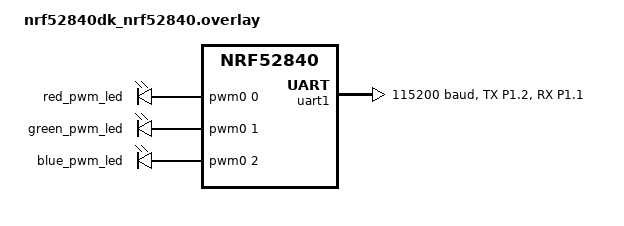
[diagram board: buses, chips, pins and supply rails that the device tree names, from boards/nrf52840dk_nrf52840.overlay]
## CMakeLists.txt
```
# SPDX-License-Identifier: Apache-2.0

cmake_minimum_required(VERSION 3.20.0)

find_package(Zephyr REQUIRED HINTS $ENV{ZEPHYR_BASE})
project(blep1)

SET(CMAKE_C_FLAGS "-O0")
SET(CMAKE_CPP_FLAGS "-O0")
set(CMAKE_BUILD_TYPE Debug)

FILE(GLOB app_sources src/*.c)
FILE(GLOB lib_sources src/lib/*.c)
target_sources(app PRIVATE ${app_sources})
target_sources(app PRIVATE ${lib_sources})
```

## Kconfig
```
mainmenu "OpenP1 application"

config OPENP1_SIM_DATA_ENABLED
  bool "Create some simulated data"
  default y

choice OPENP1_DATA_SOURCE
  bool "Choice of data source"
  default OPENP1_UART_DATA_SOURCE

config OPENP1_UART_DATA_SOURCE
  bool "Read data from UART"
  depends on OPENP1_SERIAL

config OPENP1_SIM_DATA_SOURCE
  bool "Read data directly from simulator"
endchoice

config OPENP1_SERIAL
  bool "Receive data from UART"
  default y

config OPENP1_SIM_UART_OUT
  bool "Send dummy data over tx line"
  default y
  depends on OPENP1_UART_DATA_SOURCE

config OPENP1_IGNORE_UNKNOWN
  bool "Ignore unknown OBIS fields"
  default y

config OPENP1_IGNORE_PARSING_ERRORS
  bool "Ignore fields with parsing errors"
  default y

choice OPENP1_SOCKET_TYPE
  bool "Socket type"
  default OPENP1_UDP

config OPENP1_TCP
  bool "Use TCP socket"
  depends on NET_TCP

config OPENP1_UDP
  bool "Use UDP socket"
  depends on NET_UDP
endchoice

config OPENP1_HOSTNAME
  string "Hostname"
  default "blep-device"

config OPENP1_SRP_INSTANCE_NAME
  string "SRP instance name"
  default "OPENP1 device name"

config OPENP1_LOG_TCP
  bool "Use TCP server for sending logs"
  default y

source "Kconfig.zephyr"
```

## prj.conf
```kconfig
CONFIG_PIPES=y
CONFIG_HW_STACK_PROTECTION=y

CONFIG_OPENP1_TCP=y

# Generic networking options
CONFIG_NETWORKING=y
CONFIG_NET_UDP=y
CONFIG_NET_TCP=y
CONFIG_NET_IPV6=y
CONFIG_NET_IPV4=n
CONFIG_NET_SOCKETS=y
CONFIG_NET_SOCKETS_POSIX_NAMES=y
CONFIG_POSIX_MAX_FDS=6
CONFIG_NET_CONNECTION_MANAGER=y

# Logging
CONFIG_LOG_MODE_DEFERRED=y
CONFIG_LOG_BUFFER_SIZE=8192
CONFIG_LOG_RUNTIME_FILTERING=y
CONFIG_LOG_FUNC_NAME_PREFIX_WRN=n
CONFIG_LOG_FUNC_NAME_PREFIX_INF=n
CONFIG_LOG_FUNC_NAME_PREFIX_ERR=n
CONFIG_LOG_FUNC_NAME_PREFIX_DBG=n

#CONFIG_FPU_SHARING=y

#CONFIG_BT_DEBUG_HCI_CORE=y

CONFIG_MODBUS=y
CONFIG_MODBUS_ROLE_SERVER=y
CONFIG_MODBUS_RAW_ADU=y
CONFIG_MODBUS_NUMOF_RAW_ADU=1
```

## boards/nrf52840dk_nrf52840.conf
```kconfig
CONFIG_SERIAL=y
CONFIG_UART_INTERRUPT_DRIVEN=y
CONFIG_OPENP1_SIM_DATA_ENABLED=y
CONFIG_OPENP1_UART_DATA_SOURCE=y
CONFIG_OPENP1_SERIAL=y
CONFIG_OPENP1_SIM_UART_OUT=y

CONFIG_NRFX_UARTE1=y
CONFIG_NFCT_PINS_AS_GPIOS=y
CONFIG_GPIO=y
CONFIG_PWM=y

CONFIG_FPU=y

CONFIG_OPENP1_HOSTNAME="openp1-dk"

CONFIG_WATCHDOG=y

# Kernel options
CONFIG_ENTROPY_GENERATOR=y
CONFIG_TEST_RANDOM_GENERATOR=y
CONFIG_INIT_STACKS=y

# Logging
CONFIG_NET_LOG=y
CONFIG_LOG=y
CONFIG_NET_STATISTICS=y
CONFIG_PRINTK=y

# Network buffers
CONFIG_NET_PKT_RX_COUNT=16
CONFIG_NET_PKT_TX_COUNT=16
CONFIG_NET_BUF_RX_COUNT=64
CONFIG_NET_BUF_TX_COUNT=64
CONFIG_NET_CONTEXT_NET_PKT_POOL=y

# IP address options
CONFIG_NET_IF_UNICAST_IPV6_ADDR_COUNT=6
CONFIG_NET_IF_MCAST_IPV6_ADDR_COUNT=4
CONFIG_NET_MAX_CONTEXTS=10

# Network shell
CONFIG_NET_SHELL=y
CONFIG_SHELL=y

# Network application options and configuration
#CONFIG_NET_CONFIG_SETTINGS=y
CONFIG_NET_CONFIG_NEED_IPV6=n
#CONFIG_NET_CONFIG_MY_IPV6_ADDR="2001:db8::1"
#CONFIG_NET_CONFIG_PEER_IPV6_ADDR="2001:db8::2"

# These will break openthread! https://github.com/zephyrproject-rtos/zephyr/issues/34597
CONFIG_NET_IPV6_NBR_CACHE=n
CONFIG_NET_IPV6_MLD=n


CONFIG_SYSTEM_WORKQUEUE_STACK_SIZE=4096

# Enable OpenThread shell
CONFIG_OPENTHREAD_SHELL=y
CONFIG_SHELL_STACK_SIZE=3072

CONFIG_NET_L2_OPENTHREAD=y
#CONFIG_NET_IPV6_LOG_LEVEL_DBG=y

#CONFIG_OPENTHREAD_DEBUG=y
#CONFIG_OPENTHREAD_L2_LOG_LEVEL_INF=y
#CONFIG_OPENTHREAD_L2_DEBUG=y
#CONFIG_OPENTHREAD_LOG_LEVEL_INFO=y
#CONFIG_OPENTHREAD_FULL_LOGS=y

CONFIG_OPENTHREAD_SLAAC=y
CONFIG_OPENTHREAD_JOINER=y
CONFIG_OPENTHREAD_JOINER_AUTOSTART=n
CONFIG_OPENTHREAD_MANUAL_START=y
CONFIG_OPENTHREAD_PING_SENDER=y
CONFIG_OPENTHREAD_SRP_CLIENT=y
CONFIG_OPENTHREAD_DIAG=y
CONFIG_OPENTHREAD_RADIO_WORKQUEUE_STACK_SIZE=1024

CONFIG_SETTINGS_SHELL=y

# mbedTLS tweaks
CONFIG_MBEDTLS_SSL_MAX_CONTENT_LEN=768
CONFIG_MBEDTLS_HEAP_SIZE=16384

CONFIG_MAIN_STACK_SIZE=8192
CONFIG_PICOLIBC=y
```

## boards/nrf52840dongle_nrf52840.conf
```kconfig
CONFIG_SERIAL=y
CONFIG_UART_INTERRUPT_DRIVEN=y

CONFIG_OPENP1_SIM_DATA_ENABLED=n
CONFIG_OPENP1_UART_DATA_SOURCE=y
CONFIG_OPENP1_SIM_UART_OUT=n

CONFIG_NRFX_UARTE1=y
CONFIG_NFCT_PINS_AS_GPIOS=y
CONFIG_GPIO=y
CONFIG_PWM=y

CONFIG_WATCHDOG=y

#CONFIG_POSIX_API=y
CONFIG_PICOLIBC=y
CONFIG_FPU=y

CONFIG_CONSOLE=y
CONFIG_UART_CONSOLE=y

# Kernel options
CONFIG_ENTROPY_GENERATOR=y
CONFIG_TEST_RANDOM_GENERATOR=y
CONFIG_INIT_STACKS=y

# Logging
CONFIG_NET_LOG=y
CONFIG_LOG=y
CONFIG_NET_STATISTICS=y
CONFIG_PRINTK=y

# Network buffers
CONFIG_NET_PKT_RX_COUNT=16
CONFIG_NET_PKT_TX_COUNT=16
CONFIG_NET_BUF_RX_COUNT=64
CONFIG_NET_BUF_TX_COUNT=64
CONFIG_NET_CONTEXT_NET_PKT_POOL=y

# IP address options
CONFIG_NET_IF_UNICAST_IPV6_ADDR_COUNT=6
CONFIG_NET_IF_MCAST_IPV6_ADDR_COUNT=4
CONFIG_NET_MAX_CONTEXTS=10

# Network shell
CONFIG_NET_SHELL=y
CONFIG_SHELL=y

# Network application options and configuration
CONFIG_NET_CONFIG_SETTINGS=n
CONFIG_NET_CONFIG_NEED_IPV6=n
CONFIG_NET_CONFIG_NEED_IPV4=n
CONFIG_NET_CONFIG_NEED_IPV6_ROUTER=n
#CONFIG_NET_CONFIG_MY_IPV6_ADDR="2001:db8::1"
#CONFIG_NET_CONFIG_PEER_IPV6_ADDR="2001:db8::2"

# How many client can connect to echo-server simultaneously

# These will break openthread! https://github.com/zephyrproject-rtos/zephyr/issues/34597
CONFIG_NET_IPV6_NBR_CACHE=n
CONFIG_NET_IPV6_MLD=n


CONFIG_SYSTEM_WORKQUEUE_STACK_SIZE=4096

# Enable OpenThread shell
CONFIG_OPENTHREAD_SHELL=y
CONFIG_SHELL_STACK_SIZE=3072

CONFIG_NET_L2_OPENTHREAD=y
#CONFIG_NET_IPV6_LOG_LEVEL_DBG=y

#CONFIG_OPENTHREAD_DEBUG=y
#CONFIG_OPENTHREAD_L2_DEBUG=y
#CONFIG_OPENTHREAD_L2_LOG_LEVEL_INF=y
#CONFIG_OPENTHREAD_LOG_LEVEL_INFO=y

CONFIG_OPENTHREAD=y
CONFIG_OPENTHREAD_SLAAC=y
CONFIG_OPENTHREAD_JOINER=y
CONFIG_OPENTHREAD_JOINER_AUTOSTART=n
CONFIG_OPENTHREAD_MANUAL_START=y
CONFIG_OPENTHREAD_PING_SENDER=y
CONFIG_OPENTHREAD_SRP_CLIENT=y
CONFIG_OPENTHREAD_DIAG=y
CONFIG_OPENTHREAD_RADIO_WORKQUEUE_STACK_SIZE=1024

# mbedTLS tweaks
CONFIG_MBEDTLS_SSL_MAX_CONTENT_LEN=768
CONFIG_MBEDTLS_HEAP_SIZE=16384

CONFIG_MAIN_STACK_SIZE=8192
CONFIG_PICOLIBC=y


# Which is used, if any?
CONFIG_OPENTHREAD_DEFAULT_TX_POWER=8
CONFIG_NET_CONFIG_IEEE802154_RADIO_TX_POWER=8
```

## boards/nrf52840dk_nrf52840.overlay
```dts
/ {
	chosen {
		p1 = &uart1;

	};
	pwmleds {
		compatible = "pwm-leds";
		red_pwm_led: pwm_led_0 {
			pwms = <&pwm0 0 PWM_USEC(255) PWM_POLARITY_INVERTED>;
		};
		green_pwm_led: pwm_led_1 {
			pwms = <&pwm0 1 PWM_USEC(255) PWM_POLARITY_INVERTED>;
		};
		blue_pwm_led: pwm_led_2 {
			pwms = <&pwm0 2 PWM_USEC(255) PWM_POLARITY_INVERTED>;
		};
	};
	aliases {
		red-pwm-led = &red_pwm_led;
		green-pwm-led = &green_pwm_led;
		blue-pwm-led = &blue_pwm_led;
	};
};

&uart1 {
	status = "okay";
	current-speed = <115200>;
	pinctrl-0 = <&uart1_default>;
	pinctrl-1 = <&uart1_sleep>;
	pinctrl-names = "default", "sleep";
};

&pinctrl {
	uart1_default: uart1_default {
		group1 {
			psels = <NRF_PSEL(UART_TX, 1, 2)>;
		};
		group2 {
			psels =	<NRF_PSEL(UART_RX, 1, 1)>;
			bias-pull-down;
		};
	};

	uart1_sleep: uart1_sleep {
		group1 {
			psels = <NRF_PSEL(UART_TX, 1, 2)>,
			      	<NRF_PSEL(UART_RX, 1, 1)>;
			low-power-enable;
		};
	};
	pwm0_default: pwm0_default {
		group1 {
			psels = <NRF_PSEL(PWM_OUT0, 0, 14)>,
					<NRF_PSEL(PWM_OUT1, 0, 15)>,
					<NRF_PSEL(PWM_OUT2, 0, 16)>;
			nordic,invert;
		};
	};

	pwm0_sleep: pwm0_sleep {
		group1 {
			psels = <NRF_PSEL(PWM_OUT0, 0, 14)>,
					<NRF_PSEL(PWM_OUT1, 0, 15)>,
					<NRF_PSEL(PWM_OUT2, 0, 16)>;
			low-power-enable;
		};
	};
};
```

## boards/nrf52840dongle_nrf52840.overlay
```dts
/ {
	chosen {
		p1 = &uart1;
	};
	pwmleds {
		compatible = "pwm-leds";
		red_pwm_led: pwm_led_0 {
			pwms = <&pwm0 0 PWM_USEC(255) PWM_POLARITY_INVERTED>;
		};
		green_pwm_led: pwm_led_1 {
			pwms = <&pwm0 1 PWM_USEC(255) PWM_POLARITY_INVERTED>;
		};
		blue_pwm_led: pwm_led_2 {
			pwms = <&pwm0 2 PWM_USEC(255) PWM_POLARITY_INVERTED>;
		};
	};
};

&uart1 {
	status = "okay";
	current-speed = <115200>;
	pinctrl-0 = <&uart1_default>;
	pinctrl-1 = <&uart1_sleep>;
	pinctrl-names = "default", "sleep";
};

&pinctrl {
	uart1_default: uart1_default {
		group1 {
			psels = <NRF_PSEL(UART_TX, 0, 17)>;
		};
		group2 {
			psels =	<NRF_PSEL(UART_RX, 0, 29)>;
			bias-pull-down;
		};
	};

	uart1_sleep: uart1_sleep {
		group1 {
			psels = <NRF_PSEL(UART_TX, 0, 17)>,
			      	<NRF_PSEL(UART_RX, 0, 29)>;
			low-power-enable;
		};
	};
};
```

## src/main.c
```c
#include "lib/openp1.h"
#include "lib/parser.h"
#include "lib/telegram.h"
#include "lib/value_store.h"

#include "state_indicator.h"
#include "thread_mgmt.h"
#include "uart_p1.h"
#include "framer_task.h"
#include "parser_task.h"
#include "handler_task.h"
#include "modbus.h"
#include "tcp_log.h"
#include "input.h"
#include "watchdog.h"

#include <zephyr/kernel.h>
#include <zephyr/logging/log.h>

#if CONFIG_OPENTHREAD
#include <zephyr/net/openthread.h>
#include <openthread/srp_client.h>
#include <openthread/instance.h>
#endif

K_PIPE_DEFINE(rx_pipe, 4096, 4);
K_PIPE_DEFINE(tx_pipe, 4096, 4);
K_FIFO_DEFINE(telegram_frame_fifo);
K_MSGQ_DEFINE(telegram_queue, sizeof(telegram_message), 1, 4); 

LOG_MODULE_REGISTER(main, LOG_LEVEL_DBG);

const char HOSTNAME[] = CONFIG_OPENP1_HOSTNAME; 

struct value_store value_store;

void update_data_store(struct data_item *data_item) {
	value_store_update(&value_store, data_item);
}

#if CONFIG_OPENTHREAD
//typedef void (*otSrpClientAutoStartCallback)(const otSockAddr *aServerSockAddr, void *aContext);
void on_ot_srp_client_autostart_cb(const otSockAddr *aServerSockAddr, void *aContext) {
	uint8_t buf[INET6_ADDRSTRLEN];
	otIp6AddressToString(&aServerSockAddr->mAddress, buf, INET6_ADDRSTRLEN);
	LOG_INF("SRP autostart callback. Server: %s", buf);
}

const char INSTANCE_NAME[] = CONFIG_OPENP1_SRP_INSTANCE_NAME;
#if CONFIG_OPENP1_UDP
const char SERVICE_LABEL[] = "_blep1-modbus._udp";
#elif CONFIG_OPENP1_TCP
const char SERVICE_LABEL[] = "_blep1-modbus._tcp";
#else
const char SERVICE_LABEL[] = "_blep1-unknown._unknown";
#endif
struct otSrpClientService srp_client_service = {0};

static int service_registration() {
	struct otInstance *otInstance = openthread_get_default_instance();
	if (otInstance == NULL) {
		LOG_ERR("Openthread instance not available");
		return -1;
	}
	int ret = otSrpClientEnableAutoHostAddress(otInstance);
	if (ret != OT_ERROR_NONE) {
		LOG_ERR("Could not set auto host name address, error: %d", ret);
		return -1;
	}
	ret = otSrpClientSetHostName(otInstance, HOSTNAME);
	if (ret != OT_ERROR_NONE) {
		LOG_ERR("Could not set host name address, error: %d", ret);
		return -1;
	}
	srp_client_service.mInstanceName = INSTANCE_NAME;
	srp_client_service.mName = SERVICE_LABEL;
	srp_client_service.mPort = 502;

	ret = otSrpClientAddService(otInstance, &srp_client_service);
	if (ret != OT_ERROR_NONE) {
		LOG_ERR("Could not set service, error: %d", ret);
		return -1;
	}
	otSrpClientEnableAutoStartMode(otInstance, &on_ot_srp_client_autostart_cb, NULL);
	LOG_INF("Service discovery setup done");

	return 0;
}
#else
static int service_registration() { 
	LOG_INF("No service registration configured");
	return 0;
}

#endif

struct button_cb button_callbacks = {
	.on_button_short_press_released = thread_join_attempt,
	.on_button_long_press_detected = thread_factory_reset,
};


void main(void) {
	int err;
	LOG_INF("Starting..");

#if CONFIG_WATCHDOG
	err = watchdog_init();
	if (err < 0) {
		LOG_ERR("Could not init watchdog (err %d)", err);
		goto fail;
	}
#endif


#if CONFIG_OPENP1_SERIAL
	err = uart_p1_init(&rx_pipe, &tx_pipe);
	if (err < 0) {
		LOG_ERR("Could not init uart (err %d)", err);
		goto fail;
	}
#endif

	err = framer_task_init(&rx_pipe, &telegram_frame_fifo);
	if (err < 0) {
		LOG_ERR("Could not init parser task (err %d)", err);
		goto fail;
	}

	err = parser_task_init(&telegram_frame_fifo, &telegram_queue);
	if (err < 0) {
		LOG_ERR("Could not init parser task (err %d)", err);
		goto fail;
	}

	err = handler_task_init(&telegram_queue, &update_data_store);
	if (err < 0) {
		LOG_ERR("Could not init handler task (err %d)", err);
		goto fail;
	}

	err = modbus_init(&value_store);
	if (err < 0) {
		LOG_ERR("Could not initalize Modbus server");
		goto fail;
	}

#if CONFIG_OPENP1_LOG_TCP
	err = tcp_log_server_start();
	if (err < 0) {
		LOG_ERR("Could not initalize tcp log server");
		goto fail;
	}
#endif

#if CONFIG_GPIO
	err = input_init(&button_callbacks);
	if (err < 0) {
		LOG_ERR("Could not initialize input");
		goto fail;
	}
#endif

	err = service_registration();
	if (err < 0) {
		LOG_ERR("Could not start service registration");
		goto fail;
	}

	state_indicator_set_state(STARTED);

#if CONFIG_OPENTHREAD
	thread_up();
#endif

	LOG_INF("Up and running..");

	while (true) {
		k_sleep(K_SECONDS(1));
	}

	fail:
	LOG_ERR("Error");
	state_indicator_set_state(ERROR);
	k_sleep(K_MSEC(5000));

}
```

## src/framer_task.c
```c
#include <zephyr/logging/log.h>
#include <zephyr/net/buf.h>
#include <zephyr/kernel.h>
#include <sys/types.h>

#include "framer_task.h"
#include "lib/openp1.h"
#include "line_log.h"
#include "lib/telegram_framer.h"

#define READ_TIMEOUT_MS 200
#define MAX_TELEGRAM_SIZE 8192
#define TELEGRAM_BUF_POOL_SIZE 4

LOG_MODULE_REGISTER(framer_task, LOG_LEVEL_DBG);

K_SEM_DEFINE(start, 0, 1);

struct k_fifo *framed_telegram_queue;
struct k_pipe *input_pipe;

static struct telegram_framer *telegram_framer;

static struct line_log *line_log;

int framer_task_init(struct k_pipe *input, struct k_fifo *output) {
    input_pipe = input;
    framed_telegram_queue = output;

    line_log = line_log_init();
    if (line_log == NULL) {
        LOG_ERR("Failed to initialize line log");
        return -1;
    }
    telegram_framer = telegram_framer_init();
    if (telegram_framer == NULL) {
        LOG_ERR("Failed to initialize telegram framer");
        return -1;
    }
    k_sem_give(&start);
    return 0;
}

void framer_task(void *user_data) {
	uint8_t c;
    size_t bytes_read;
    k_sem_take(&start, K_FOREVER);
    LOG_INF("Telegram framer task started");
    while(true) {
        k_timeout_t timeout = telegram_framer_is_empty(telegram_framer) ? K_FOREVER : K_MSEC(READ_TIMEOUT_MS);
        int ret = k_pipe_get(input_pipe, &c, 1, &bytes_read, 1, timeout);
        if (ret < 0) {
            if (ret == -EINVAL) {
                LOG_ERR("Invalid argument, should not happen");
                return;
            }
            LOG_DBG("Discarding frame due to timeout");
            telegram_framer_reset(telegram_framer);
            line_log_reset(line_log);
        } else {
            line_log_push(line_log, c);
            struct net_buf *frame = telegram_framer_push(telegram_framer, c);
            if (frame != NULL) {
                net_buf_put(framed_telegram_queue, frame);
            }
	    }
    }
}

#define STACKSIZE 1024
#define PRIORITY 7

K_THREAD_DEFINE(framer_task_thread, STACKSIZE,
                framer_task, NULL, NULL, NULL,
                PRIORITY, K_ESSENTIAL, 0);
```

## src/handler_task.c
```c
#include <zephyr/kernel.h>

#include <zephyr/logging/log.h>
#include <sys/types.h>

#include "handler_task.h"

#include "lib/telegram.h"
#include "lib/openp1.h"
#include "state_indicator.h"
#include "watchdog.h"


LOG_MODULE_REGISTER(handler_task, LOG_LEVEL_DBG);

#define STACKSIZE 1024
#define PRIORITY 7

K_SEM_DEFINE(handler_task_start, 0, 1);

static struct k_msgq *telegram_queue = NULL;
static update_value_store_fun update_value_store;

int handler_task_init(struct k_msgq *input, update_value_store_fun update_fun) {
    telegram_queue = input;
    update_value_store = update_fun;
    k_sem_give(&handler_task_start);
    return 0;
}

void handle_telegram(struct telegram *telegram) {
    int count = 0;
    struct data_item *data_item;
    struct telegram_data_iterator iter;
    telegram_item_iterator_init(telegram, &iter);
    while (NULL != (data_item = telegram_item_iterator_next(&iter))) {
        update_value_store(data_item);
        count++;
    }
    LOG_DBG("Value store updated with %d values.", count);
}

void handler_task(void *, void *, void *) {
    k_sem_take(&handler_task_start, K_FOREVER);
    LOG_INF("Telegram handler started");
    while (true) {
        telegram_message telegram_message;
        int ret = k_msgq_get(telegram_queue, &telegram_message, K_FOREVER);
        if (ret < 0) {
            LOG_ERR("Failed to receive message for some reason: %d", ret);
        } else {
            struct telegram *telegram = telegram_message.telegram;
            LOG_INF("Handler task received telegram");
            state_indicator_notify_telegram();
            handle_telegram(telegram);
            watchdog_feed(TELEGRAM_RECEIVED);
            telegram_free(telegram);
        }
    }
}

K_THREAD_DEFINE(handler_task_thread, STACKSIZE,
                handler_task, NULL, NULL, NULL,
                PRIORITY, K_ESSENTIAL, 0);
```

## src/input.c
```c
#include "input.h"

#include <zephyr/kernel.h>
#include <zephyr/logging/log.h>
#include <zephyr/drivers/gpio.h>
#include <zephyr/device.h>
#include <zephyr/sys/time_units.h>

#if CONFIG_GPIO

LOG_MODULE_REGISTER(input, LOG_LEVEL_DBG);

//static const struct device *const button = DEVICE_DT_GET(DT_NODELABEL(button0));
static const struct gpio_dt_spec button = GPIO_DT_SPEC_GET(DT_ALIAS(sw0), gpios);

/* For zephyr 3.4.0, with input system
static void test_cb(struct input_event *evt) {
    LOG_INF("Button press, type: %d, code: %d, value: %d", evt->type, evt->code, evt->value);
}
//INPUT_LISTENER_CB_DEFINE(button, test_cb);
*/

static struct button_cb *button_callbacks;

static void call_if_set(button_event_cb cb) {
    if (cb != NULL) {
        cb();
    }
}

static void on_button_pressed(struct k_work *work) {
    LOG_DBG("Button pressed");
	call_if_set(button_callbacks->on_button_pressed);
}

static void on_button_released(struct k_work *work) {
    LOG_DBG("Button released");
	call_if_set(button_callbacks->on_button_released);
}

static void on_button_short_press_released(struct k_work *work) {
    LOG_DBG("Button short press released");
	call_if_set(button_callbacks->on_button_short_press_released);
}

static void on_button_long_press_released(struct k_work *work) {
    LOG_DBG("Button long press released");
	call_if_set(button_callbacks->on_button_long_press_released);
}

static void on_button_long_press_detected(struct k_work *work) {
    LOG_DBG("Button long press detected");
	call_if_set(button_callbacks->on_button_long_press_detected);
}

K_WORK_DEFINE(button_pressed_work, on_button_pressed);
K_WORK_DEFINE(button_released_work, on_button_released);
K_WORK_DEFINE(button_short_press_released_work, on_button_short_press_released);
K_WORK_DEFINE(button_long_press_released_work, on_button_long_press_released);
K_WORK_DEFINE(button_long_press_detected_work, on_button_long_press_detected);


#define LONG_PRESS_TIME_MS 3000
#define SHORT_PRESS_TIME_MS 50

void press_timer_handler(struct k_timer *ignored) {
    k_work_submit(&button_long_press_detected_work);
}

K_TIMER_DEFINE(press_timer, press_timer_handler, NULL);

static void button_cb(const struct device *dev, struct gpio_callback *cb, uint32_t pins) {
    int level = gpio_pin_get_dt(&button);
    if (level != 0 ) {
        // Button pressed
        k_timer_start(&press_timer, K_MSEC(LONG_PRESS_TIME_MS), K_NO_WAIT);
        k_work_submit(&button_pressed_work);
    } else {
        // Button released
        k_ticks_t remaining_ticks = k_timer_remaining_ticks(&press_timer);
        k_timer_stop(&press_timer);
        uint32_t elapsed_time_ms = LONG_PRESS_TIME_MS - k_ticks_to_ms_floor32 (remaining_ticks);
        if (k_timer_status_get(&press_timer) > 0) {
            // Timer expired -> long press
            k_work_submit(&button_long_press_released_work);
        } else if (elapsed_time_ms > SHORT_PRESS_TIME_MS) {
            k_work_submit(&button_short_press_released_work);
        }
        // In any case, signal button relased
        k_work_submit(&button_released_work);
    }
}

static struct gpio_callback button_cb_data;

int input_init(struct button_cb *callbacks) {
    int ret;
    LOG_INF("Initializing input");
    if (!device_is_ready(button.port)) {
		LOG_ERR("%s: device not ready.\n", button.port->name);
		return -1;
	}
    ret = gpio_pin_configure_dt(&button, GPIO_INPUT);
	if (ret != 0) {
		LOG_ERR("Error %d: failed to configure gpio on %s pin %d\n",
			ret, button.port->name, button.pin);
		return -1;
	}

	ret = gpio_pin_interrupt_configure_dt(&button, GPIO_INT_TRIG_BOTH);
	if (ret != 0) {
		LOG_ERR("Error %d: failed to configure interrupt on %s pin %d\n",
			ret, button.port->name, button.pin);
		return -1;
	}
	gpio_init_callback(&button_cb_data, button_cb, BIT(button.pin));
    ret = gpio_add_callback(button.port, &button_cb_data);
    if (ret != 0) {
		LOG_ERR("Failed to add callback");
		return -1;
    }

    if (callbacks == NULL) {
		LOG_ERR("No callbacks provided");
        return -1;
    }
    button_callbacks = callbacks;
    LOG_INF("Initialized input");

    return 0;
}

#endif
```

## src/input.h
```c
#ifndef INPUT_HEADER_H
#define INPUT_HEADER_H


typedef void (*button_event_cb)();

struct button_cb {
    button_event_cb on_button_pressed;
    button_event_cb on_button_released;
    button_event_cb on_button_short_press_released;
    button_event_cb on_button_long_press_released;
    button_event_cb on_button_long_press_detected;
};

int input_init(struct button_cb *callbacks);


#endif /* INPUT_HEADER_H */
```

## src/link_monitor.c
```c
#include <zephyr/kernel.h>
#include <zephyr/logging/log.h>
#include <zephyr/net/openthread.h>

#include <openthread/dataset.h>
#include <openthread/instance.h>
#include <openthread/netdata.h>

#include "state_indicator.h"

#if CONFIG_OPENTHREAD

LOG_MODULE_REGISTER(link_monitor, LOG_LEVEL_INF);

#define STACKSIZE 512
#define PRIORITY 7

K_SEM_DEFINE(link_monitor_check, 0, 1);

void link_monitor_event(struct k_timer *timer) {
    k_sem_give(&link_monitor_check);
}

K_TIMER_DEFINE(link_monitor_timer, link_monitor_event, NULL);

static uint8_t prefix_buf[64];

static int is_up() {
    // Consider up if we have any external routes
	struct openthread_context *context = openthread_get_default_context();
    if (context == NULL) {
        return -1;
    }

    openthread_api_mutex_lock(context);
    struct otInstance *instance = context->instance;
  
    otNetworkDataIterator it = OT_NETWORK_DATA_ITERATOR_INIT;
    struct otExternalRouteConfig route_config;
    int route_count = 0;

    while (OT_ERROR_NONE == otNetDataGetNextRoute(instance, &it, &route_config)) {
        route_count++;
        otIp6PrefixToString(&route_config.mPrefix, prefix_buf, sizeof(prefix_buf));
        LOG_DBG("Found external route RLOC16: %d Prefix: %s", route_config.mRloc16, prefix_buf);
    }

    openthread_api_mutex_unlock(context);

    return route_count;
}

void link_monitor_task(void *, void *, void *) {
    k_timer_start(&link_monitor_timer, K_MSEC(1000), K_MSEC(1000));
    while (true) {
        k_sem_take(&link_monitor_check, K_FOREVER);
        enum indicator_state current_state = state_indicator_get_state();
        if (current_state == CONNECTED || current_state == AWAITING_ROUTES) {
            int ret = is_up();
            if (ret > 0 ) {
                state_indicator_set_state(CONNECTED);
            } else if (ret == 0) {
                state_indicator_set_state(AWAITING_ROUTES);
            } else {
                state_indicator_set_state(ERROR);
            } 
        }
    }
}

K_THREAD_DEFINE(link_monitor_thread, STACKSIZE,
                link_monitor_task, NULL, NULL, NULL,
                PRIORITY, K_ESSENTIAL, 0);


#endif
```

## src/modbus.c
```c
#include "modbus.h"
#include "lib/value_store.h"
#include "lib/openp1.h"
#include "udp.h"
#include "tcp.h"
#include "watchdog.h"
#include "state_indicator.h"

#include <stdint.h>
#include <zephyr/modbus/modbus.h>
#include <sys/types.h>

LOG_MODULE_REGISTER(modbus_server, LOG_LEVEL_DBG);

K_SEM_DEFINE(response_ready, 0, 1);

static void modbus_activity_timer_expiry(struct k_timer *timer) {
	state_indicator_set_state(CONNECTED); // Not necessarily true, but link monitor will watch further
}

K_TIMER_DEFINE(modbus_activity_timer, modbus_activity_timer_expiry, NULL);

static void modbus_activity_notify() {
	k_timer_start(&modbus_activity_timer, K_SECONDS(120), K_NO_WAIT);
	state_indicator_set_state(ACTIVE);
	watchdog_feed(MODBUS_READ);
}
 
static int server_iface = -1;
static struct value_store *value_store;
static struct value_store value_store_snapshot;

static uint16_t read_word(struct data_item *data_item, uint16_t offset) {
	uint8_t buf[14]; // TODO max length should be defined somewhere.
    union data_value *value = &data_item->value;
	switch(data_definition_table[data_item->item].format) {
        case DATE_TIME_STRING:
			memcpy(buf, value->date_time, sizeof(value->date_time));
			break;
        case DOUBLE_LONG_UNSIGNED_8_3:
        case DOUBLE_LONG_UNSIGNED_4_3:
			sys_put_be32(value->double_long_unsigned, buf);
			break;
        case LONG_SIGNED_3_1:
        case LONG_UNSIGNED_3_1:
			// Shouldn't be needed, but let's keep it for consistency and to avoid any byte ordering bugs..
			sys_put_be16(value->long_unsigned, buf);
			break;
		default:
			LOG_ERR("BUG: Unhandled item");
			return 0;
	}
	return sys_get_be16(&buf[offset * 2]);
}

static int input_reg_rd(uint16_t addr, uint16_t *reg) {

	if (addr < 0x0800) {
		LOG_WRN("Trying to read non-implemented system registers");
		return -1;
	} 

	uint16_t value_addr = addr - DATA_BASE_ADDRESS;
	uint16_t item = value_addr / 32;
	uint16_t item_offset = value_addr % 32;

	struct value_store_read_result read_result = value_store_read(&value_store_snapshot, item);

	switch (read_result.status) {
		case INVALID:
			LOG_WRN("Read failure; invalid value");
			return -1; 
		case STALE:
			LOG_INF("Read failure; stale value");
			return -1;
		case OK:
			break;
		default:
			LOG_ERR("Read failure: unknown status");
			return -1;
	}

	struct data_item *data_item = &read_result.data.data;
	uint16_t size = data_item_size(data_item);

	if (item_offset > (size-1) /2 ) {
		LOG_ERR("Read failure: invalid offset");
		return -1;
	}

	uint16_t value = read_word(data_item, item_offset);
	LOG_INF("Modbus read input register, 0x%x = %d", addr, value);
	*reg = value;
	return 0;
}

static struct modbus_adu rx_adu;
static struct modbus_adu tx_adu;

static int respond(const int iface, const struct modbus_adu *adu, void *user_data) {
	LOG_INF("Server raw callback from interface %d", iface);
	if (SEND_BUFFER_SIZE < adu->length + MODBUS_MBAP_AND_FC_LENGTH) {
		// TODO set better exception type
		LOG_WRN("Response too large");
		modbus_raw_set_server_failure(&tx_adu);
		k_sem_give(&response_ready);
		return 0;
	}

	tx_adu.trans_id = adu->trans_id;
	tx_adu.proto_id = adu->proto_id;
	tx_adu.length = adu->length;
	tx_adu.unit_id = adu->unit_id;
	tx_adu.fc = adu->fc;
	memcpy(tx_adu.data, adu->data, adu->length);
	LOG_HEXDUMP_INF(tx_adu.data, tx_adu.length, "resp");
	k_sem_give(&response_ready);

	return 0;
}

static struct modbus_user_callbacks muc = {
    .input_reg_rd = input_reg_rd,
};

const static struct modbus_iface_param server_param = {
	.mode = MODBUS_MODE_RAW,
	.server = {
		.user_cb = &muc,
		.unit_id = 1,
	},
	.rawcb.raw_tx_cb = respond,
	.rawcb.user_data = NULL
};

static int send_reply(int socket) {
	int ret;
	uint8_t tx_buf[SEND_BUFFER_SIZE];
	modbus_raw_put_header(&tx_adu, tx_buf);
	// Size is checked earlier
	memcpy(&tx_buf[MODBUS_MBAP_AND_FC_LENGTH], tx_adu.data, tx_adu.length);

	#if CONFIG_OPENP1_UDP
	ret = udp_server_send(tx_buf, MODBUS_MBAP_AND_FC_LENGTH + tx_adu.length);
	#elif CONFIG_OPENP1_TCP
	ret = tcp_server_send(socket, tx_buf, MODBUS_MBAP_AND_FC_LENGTH + tx_adu.length);
	#else
	LOG_ERR("Unknown transport");
	ret = -1;
	#endif

	if (ret == 0) {
		modbus_activity_notify();
	}

	return ret;

}

#if CONFIG_OPENP1_UDP
static int on_message_received(struct request *request) {
#else
static int on_message_received(struct tcp_request *request) {
#endif
	// Read header
	if (request->len < MODBUS_MBAP_AND_FC_LENGTH) {
		LOG_WRN("Received incomplete header");
		return -1;
	}

	modbus_raw_get_header(&rx_adu, request->recv_buffer);
	LOG_HEXDUMP_DBG(request->recv_buffer, sizeof(MODBUS_MBAP_AND_FC_LENGTH), "h:>");

	if (request->len < MODBUS_MBAP_AND_FC_LENGTH + rx_adu.length) {
		LOG_WRN("Received incomplete ADU");
		return -1;
	}

	memcpy(rx_adu.data, &request->recv_buffer[MODBUS_MBAP_AND_FC_LENGTH], rx_adu.length);

	// Take a snapshot of the value_store
	value_store_copy(value_store, &value_store_snapshot);

	if (modbus_raw_submit_rx(server_iface, &rx_adu)) {
		LOG_ERR("Failed to submit raw ADU");
		return -EIO;
	}

    // We trust our network to not DOS us with garbage
    // TODO: file a request for a dropped message callback
	if (k_sem_take(&response_ready, K_MSEC(500)) != 0) {
		LOG_ERR("Wait time for response expired");
		modbus_raw_set_server_failure(&tx_adu);
	}

	#if CONFIG_OPENP1_UDP
	return send_reply(0);
	#else
	return send_reply(request->socket);
	#endif
}

#if CONFIG_OPENP1_UDP
struct message_handler handler = {
	.on_message_recived_cb = on_message_received,
};
#elif CONFIG_OPENP1_TCP
struct tcp_message_handler handler = {
	.on_message_recived_cb = on_message_received,
};
#endif


int modbus_init(struct value_store *store) {

	value_store = store;

	#if CONFIG_OPENP1_UDP
    if (udp_server_init(&handler) < 0) {
        return -1;
    }
	#elif CONFIG_OPENP1_TCP
	if (tcp_server_init(&handler) < 0) {
		return -1;
	}
	#else
	LOG_ERR("Unknown transport");
	return -1;
	#endif
    
	char iface_name[] = "RAW_0";
	server_iface = modbus_iface_get_by_name(iface_name);

	if (server_iface < 0) {
		LOG_ERR("Failed to get iface index for %s", iface_name);
		return -ENODEV;
	}

	return modbus_init_server(server_iface, server_param);
}
```

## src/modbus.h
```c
#ifndef MODBUS_H
#define MODBUS_H

#include "lib/openp1.h"
#include "lib/telegram.h"
#include "lib/value_store.h"

// Map Items to DATA_BASE_ADDRESS + item number * 32
#define DATA_BASE_ADDRESS 0x0800

int modbus_init(struct value_store *store);

#endif /* MODBUS_H */
```

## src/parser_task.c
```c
#include <zephyr/kernel.h>

#include <zephyr/logging/log.h>
#include <zephyr/net/buf.h>

#include "lib/parser.h"
#include "lib/openp1.h"

LOG_MODULE_REGISTER(parser_task, LOG_LEVEL_DBG);

#define STACKSIZE 1024
#define PRIORITY 7

K_SEM_DEFINE(parser_task_start, 0, 1);

static struct parser *parser = NULL;
static struct k_fifo *rx_queue = NULL;
static struct k_msgq *telegram_queue = NULL;

int parser_task_init(struct k_fifo *input, struct k_msgq *output) {
    parser = parser_init();
    if (parser == NULL) {
        return -1;
    }
    rx_queue = input;
    telegram_queue = output;
    k_sem_give(&parser_task_start);
    return 0;
}

void parser_task(void *, void *, void *) {
    k_sem_take(&parser_task_start, K_FOREVER);
    LOG_INF("Telegram parser started");
    while (true) {
        struct net_buf *telegram_buf = net_buf_get(rx_queue, K_FOREVER);
        LOG_INF("Received telegram buffer, length %d", telegram_buf->len);
        struct telegram *telegram = parse_telegram(parser, telegram_buf);
        if (telegram != NULL) {
            LOG_INF("Received telegram with length: %d", telegram_items_count(telegram));
            telegram_message message = { telegram };

            // Remove any existing message as they are outdated
            telegram_message discard;
            while(k_msgq_get(telegram_queue, &discard, K_NO_WAIT) == 0) {
                telegram_free(discard.telegram);
                LOG_WRN("Telegram overrun, discarding message");
            }

            int ret = k_msgq_put(telegram_queue, &message, K_NO_WAIT);
            if (ret < 0) {
                LOG_ERR("Failed to send message, %d", ret);
                telegram_free(telegram);
            }
        }
        net_buf_unref(telegram_buf);
    }
}

K_THREAD_DEFINE(parser_task_thread, STACKSIZE,
                parser_task, NULL, NULL, NULL,
                PRIORITY, K_ESSENTIAL, 0);
```

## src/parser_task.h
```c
#ifndef PARSER_TASK_HEADER_H
#define PARSER_TASK_HEADER_H

#include "lib/parser.h"

int parser_task_init(struct k_fifo *telegram_rx_queue, struct k_msgq *queue);

#endif /* PARSER_TASK_HEADER_H */
```

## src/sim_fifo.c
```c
#include <sys/types.h>
#include <zephyr/kernel.h>
#include <zephyr/logging/log.h>
#include <zephyr/sys/crc.h>
#include <stdio.h>
#include <math.h>
#include <time.h>

#if CONFIG_OPENP1_SIM_DATA_ENABLED

#define STACKSIZE 1024
#define PRIORITY 7

extern struct k_pipe rx_pipe; 
extern struct k_pipe tx_pipe; 

#if CONFIG_OPENP1_UART_DATA_SOURCE
#define SIM_OUTPUT &tx_pipe
#else
#define SIM_OUTPUT &rx_pipe
#endif

LOG_MODULE_REGISTER(sim_fifo, LOG_LEVEL_DBG);

#define PI 3.14159

uint8_t buf[4096];

struct tm tm;

void sim_update(int t) {
    int pos = 0;
    time_t time = t;
    if (localtime_r(&time, &tm) == NULL) {
        LOG_ERR("Failed to generate time");
        return;
    }

    pos += sprintf(&buf[pos], "/ASD5id123\r\n\r\n");
    pos += sprintf(&buf[pos], "0-0:1.0.0(%02d%02d%02d%02d%02d%02dW)\r\n", 
        tm.tm_year % 100, tm.tm_mon + 1, tm.tm_mday, tm.tm_hour, tm.tm_min, tm.tm_sec); 
    pos += sprintf(&buf[pos], "1-0:1.8.0(%012.3f*kWh)\r\n", 0.394 * t);
    pos += sprintf(&buf[pos], "1-0:2.8.0(%012.3f*kWh)\r\n", 0.128 * t);
    pos += sprintf(&buf[pos], "1-0:3.8.0(%012.3f*kvarh)\r\n", 0.074 * t);
    pos += sprintf(&buf[pos], "1-0:4.8.0(%012.3f*kvarh)\r\n", 0.018 * t);
    pos += sprintf(&buf[pos], "1-0:1.7.0(%08.3f*kW)\r\n",  5 + 5 * sin(PI * t / 10.0));
    pos += sprintf(&buf[pos], "1-0:2.7.0(%08.3f*kW)\r\n",  3 + 3 * cos(PI * t / 10.0));
    pos += sprintf(&buf[pos], "1-0:3.7.0(%08.3f*kvar)\r\n", 0.5 + 0.5 * sin(PI * t / 7.0));
    pos += sprintf(&buf[pos], "1-0:4.7.0(%08.3f*kvar)\r\n", 0.2 + 0.2 * cos(PI * t / 7.0));
    pos += sprintf(&buf[pos], "1-0:32.7.0(%05.1f*V)\r\n", 240 + sin(PI * t / 10) * 5);
    pos += sprintf(&buf[pos], "1-0:52.7.0(%05.1f*V)\r\n", 240 + sin(PI * t / 9) * 5);
    pos += sprintf(&buf[pos], "1-0:72.7.0(%05.1f*V)\r\n", 240 + sin(PI * t / 8) * 5);
    pos += sprintf(&buf[pos], "1-0:31.7.0(%05.1f*A)\r\n", 5 + sin(PI * t / 10) * 5);
    pos += sprintf(&buf[pos], "1-0:51.7.0(%05.1f*A)\r\n", 5 + sin(PI * t / 9) * 5);
    pos += sprintf(&buf[pos], "1-0:71.7.0(%05.1f*A)\r\n", 5 + sin(PI * t / 8) * 5);
    pos += sprintf(&buf[pos], "!");
    uint16_t checksum = crc16_reflect(0xa001, 0, buf, pos);
    pos += sprintf(&buf[pos], "%4X\r\n", checksum);
}

void sim_fifo(void *, void *, void *) {
    size_t bytes_written;
    int t = 0;
    while (true) {
        k_sleep(K_MSEC(3000));
        sim_update(t++);
        LOG_INF("Transmitting");
        int len = strlen(buf);
        int ret = k_pipe_put(SIM_OUTPUT, buf, len, &bytes_written, len, K_NO_WAIT);
        if (ret < 0) {
            LOG_ERR("Failed to send simulated data to fifo: %d", ret);
        }
    }
}

K_THREAD_DEFINE(sim_fifo_thread, STACKSIZE,
                sim_fifo, NULL, NULL, NULL,
                PRIORITY, 0, 0);
    
#endif
```

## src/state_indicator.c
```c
#include "state_indicator.h"

#include <zephyr/kernel.h>
#include <zephyr/logging/log.h>
#include <zephyr/drivers/pwm.h>
#include <zephyr/drivers/gpio.h>
#include <zephyr/device.h>
#include <zephyr/devicetree.h>

LOG_MODULE_REGISTER(state_indicator, LOG_LEVEL_INF);

#define STACKSIZE 512
#define PRIORITY 5

struct rgb_color {
    u_int8_t red;
    u_int8_t green;
    u_int8_t blue;
};

struct pulse_pattern {
    int on_ms;
    int interval;
};

struct state_indication {
    const struct rgb_color *color;
    const struct pulse_pattern *pattern;
};

const struct rgb_color MAGENTA =    { .red = 0xff , .green = 0x00, .blue = 0xff };
const struct rgb_color RED =        { .red = 0xff , .green = 0x00, .blue = 0x00 };
const struct rgb_color GREEN =      { .red = 0x00 , .green = 0xff, .blue = 0x00 };
const struct rgb_color YELLOW =     { .red = 0xff , .green = 0xff, .blue = 0x00 };
const struct rgb_color ORANGE =     { .red = 0xff , .green = 0x7f, .blue = 0x00 };
const struct rgb_color BLUE =       { .red = 0x00 , .green = 0x00, .blue = 0xff };
const struct rgb_color PURPLE =     { .red = 0x7f , .green = 0x00, .blue = 0xff };
const struct rgb_color WHITE =      { .red = 0xff , .green = 0xff, .blue = 0xff };
const struct rgb_color CYAN =       { .red = 0x00 , .green = 0xff, .blue = 0xff };
const struct rgb_color BLACK =      { .red = 0x00 , .green = 0x00, .blue = 0x00 };

const struct pulse_pattern ON =     { .on_ms = 1000,    .interval = 1000    };
const struct pulse_pattern OFF =    { .on_ms = 0,       .interval = 1000    };
const struct pulse_pattern SLOW =   { .on_ms = 300,     .interval = 2000    };
const struct pulse_pattern MEDIUM = { .on_ms = 100,     .interval = 500     };
const struct pulse_pattern FAST =   { .on_ms = 50,      .interval = 200     };

static const struct state_indication indications[__NUM_STATES] = {
    { .color = &MAGENTA,    .pattern = &ON },       /* INIT */
    { .color = &RED,        .pattern = &ON },       /* ERROR */
    { .color = &CYAN,       .pattern = &ON },       /* STARTED */
    { .color = &YELLOW,     .pattern = &SLOW },     /* NOT_COMSISSIONED */
    { .color = &YELLOW,     .pattern = &FAST },     /* JOINING_NETWORK */
    { .color = &ORANGE,     .pattern = &ON },       /* JOINING_FAILED */
    { .color = &PURPLE,     .pattern = &MEDIUM },   /* AWAITING_ROUTES */
    { .color = &BLUE,       .pattern = &SLOW },     /* CONNECTED */
    { .color = &WHITE,      .pattern = &SLOW },     /* ACTIVE */
};

K_SEM_DEFINE(state_updatable, 1, 1);
K_SEM_DEFINE(state_updated, 0, 1);

static struct state_indicator {
    enum indicator_state current_state;
} state_indicator;

#if CONFIG_PWM
static const struct pwm_dt_spec red_pwm_led = PWM_DT_SPEC_GET(DT_ALIAS(red_pwm_led));
static const struct pwm_dt_spec green_pwm_led = PWM_DT_SPEC_GET(DT_ALIAS(green_pwm_led));
static const struct pwm_dt_spec blue_pwm_led = PWM_DT_SPEC_GET(DT_ALIAS(blue_pwm_led));
#endif

#if CONFIG_GPIO
static const struct gpio_dt_spec telegram_notify_led = GPIO_DT_SPEC_GET(DT_ALIAS(led0), gpios);
#endif

void set_color(const struct rgb_color *color) {
    LOG_DBG("Setting color. r: %x, g: %x, b: %x", color->red, color->green, color->blue);
#if CONFIG_PWM
    pwm_set_pulse_dt(&red_pwm_led, color->red * 1000);
    pwm_set_pulse_dt(&green_pwm_led, color->green * 1000);
    pwm_set_pulse_dt(&blue_pwm_led, color->blue * 1000);
#endif
}

static void pulse_stop(struct k_timer *timer) {
    set_color(&BLACK);
}

K_TIMER_DEFINE(pulse_stop_timer, pulse_stop, NULL);

static void pulse_start(struct k_timer *timer) {
    const struct state_indication *indication = &indications[state_indicator.current_state];
    const struct pulse_pattern *pattern = indication->pattern;
    const struct rgb_color *color = indication->color;
    set_color(color);
    if (pattern->on_ms < pattern->interval) {
        k_timer_start(&pulse_stop_timer, K_MSEC(pattern->on_ms), K_NO_WAIT);
    }
}

K_TIMER_DEFINE(pulse_start_timer, pulse_start, NULL);
static void state_indicator_entry(void *, void *, void *) {
    int ret;
    state_indicator.current_state = INIT;
#if CONFIG_PWM
   	if (!device_is_ready(red_pwm_led.dev) ||
	    !device_is_ready(green_pwm_led.dev) ||
	    !device_is_ready(blue_pwm_led.dev)) {
        LOG_ERR("PWM leds not ready");
		return;
	} 
#endif
#if CONFIG_GPIO
    if (!device_is_ready(telegram_notify_led.port)) {
        LOG_ERR("led0 not ready");
        return;
    }
    ret = gpio_pin_configure_dt(&telegram_notify_led, GPIO_OUTPUT_INACTIVE);
	if (ret < 0) {
        LOG_ERR("Could not configure led0");
		return;
	}
#endif

    while (true) {
        LOG_DBG("State updated, reloading timers");
        k_timer_stop(&pulse_start_timer);
        k_timer_stop(&pulse_stop_timer);
        const struct state_indication *indication = &indications[state_indicator.current_state];
        const struct pulse_pattern *pattern = indication->pattern;
        k_timer_start(&pulse_start_timer, K_NO_WAIT, K_MSEC(pattern->interval));
        k_sem_give(&state_updatable);
        k_sem_take(&state_updated, K_FOREVER);
    }
}

enum indicator_state state_indicator_get_state() {
    return state_indicator.current_state;
}

void state_indicator_set_state(enum indicator_state state) {
    if (state == state_indicator.current_state) {
        return;
    }
    int ret = k_sem_take(&state_updatable, K_MSEC(1000));
    if (ret < 0) {
        LOG_ERR("Could not update state. State: %d, Error: %d", state, ret);
        return;
    }
    LOG_INF("Changing from state: %d, to %d", state_indicator.current_state, state);
    state_indicator.current_state = state;
    k_sem_give(&state_updated);
}

#define TELEGRAM_NOTIFICATION_MS 500

static void telegram_notify_stop(struct k_timer *timer) {
    LOG_DBG("Telegram arrived notifiaction stop");
#if CONFIG_GPIO
    gpio_pin_set_dt(&telegram_notify_led, 0);
#endif
}

K_TIMER_DEFINE(telegram_notify_timer, telegram_notify_stop, NULL);

void state_indicator_notify_telegram() {
    k_timer_start(&telegram_notify_timer, K_MSEC(TELEGRAM_NOTIFICATION_MS), K_NO_WAIT);
    LOG_DBG("Telegram arrived notifiaction start");
#if CONFIG_GPIO
    gpio_pin_set_dt(&telegram_notify_led, 1);
#endif
}

K_THREAD_DEFINE(state_indicator_task, STACKSIZE,
                state_indicator_entry, NULL, NULL, NULL,
                PRIORITY, K_ESSENTIAL, 0);
```

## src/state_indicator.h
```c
#ifndef STATE_INDICATOR_H
#define STATE_INDICATOR_H

#include <sys/types.h>
#include <stdbool.h>


enum indicator_state {
    INIT,
    ERROR,
    STARTED,
    NOT_COMISSIONED,
    JOINING_NETWORK,
    JOINING_FAILED,
    AWAITING_ROUTES,
    CONNECTED,
    ACTIVE,
    __NUM_STATES,
};

enum indicator_state state_indicator_get_state();
void state_indicator_set_state(enum indicator_state state);
void state_indicator_notify_telegram();


#endif /* STATE_INDICATOR_H */
```
